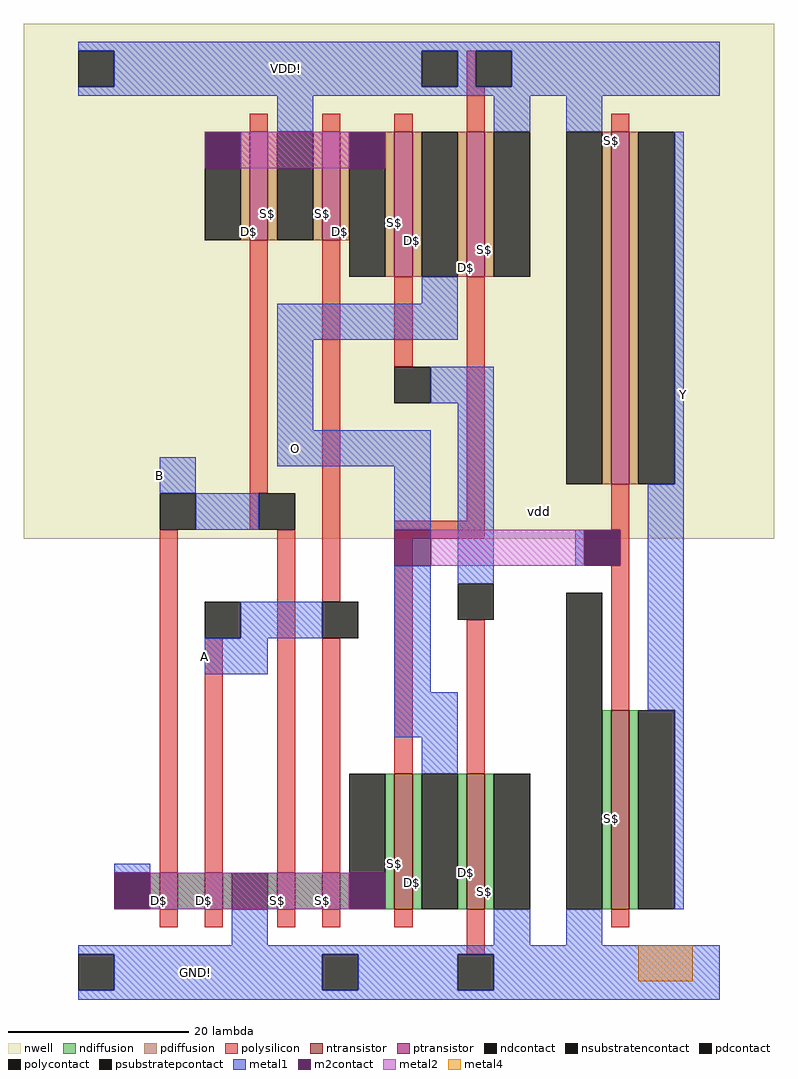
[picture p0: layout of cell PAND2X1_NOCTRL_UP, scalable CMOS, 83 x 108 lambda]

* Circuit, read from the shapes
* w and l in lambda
.subckt PAND2X1_NOCTRL_UP VDD! GND! B A Y
M1 n1 B n2 GND! nfet w=4 l=2
M2 GND! A n1 GND! nfet w=4 l=2
M3 n3 B GND! GND! nfet w=4 l=2
M4 n2 A n3 GND! nfet w=4 l=2
M5 O VDD! n2 GND! nfet w=15 l=2
M6 GND! GND! O GND! nfet w=15 l=2
M7 Y O GND! GND! nfet w=22 l=2
M8 VDD! B n4 VDD! pfet w=12 l=2
M9 n4 A VDD! VDD! pfet w=12 l=2
M10 O GND! n4 VDD! pfet w=16 l=2
M11 VDD! VDD! O VDD! pfet w=16 l=2
M12 Y O VDD! VDD! pfet w=39 l=2
.ends

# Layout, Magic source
magic
tech scmos
<< nwell >>
rect -8 48 75 105
<< ntransistor >>
rect 7 7 9 11
rect 12 7 14 11
rect 20 7 22 11
rect 25 7 27 11
rect 33 7 35 22
rect 41 7 43 22
rect 57 7 59 29
<< ptransistor >>
rect 17 81 19 93
rect 25 81 27 93
rect 33 77 35 93
rect 41 77 43 93
rect 57 54 59 93
<< ndiffusion >>
rect 6 7 7 11
rect 9 7 12 11
rect 14 7 15 11
rect 19 7 20 11
rect 22 7 25 11
rect 27 7 28 11
rect 32 7 33 22
rect 35 7 36 22
rect 40 7 41 22
rect 43 7 44 22
rect 56 7 57 29
rect 59 7 60 29
<< pdiffusion >>
rect 16 81 17 93
rect 19 81 20 93
rect 24 81 25 93
rect 27 81 28 93
rect 32 77 33 93
rect 35 77 36 93
rect 40 77 41 93
rect 43 77 44 93
rect 56 54 57 93
rect 59 54 60 93
<< ndcontact >>
rect 2 7 6 11
rect 15 7 19 11
rect 28 7 32 22
rect 36 7 40 22
rect 44 7 48 22
rect 52 7 56 42
rect 60 7 64 29
<< pdcontact >>
rect 12 81 16 93
rect 20 81 24 93
rect 28 77 32 93
rect 36 77 40 93
rect 44 77 48 93
rect 52 54 56 93
rect 60 54 64 93
<< psubstratepcontact >>
rect -2 -2 2 2
rect 25 -2 29 2
<< nsubstratencontact >>
rect -2 98 2 102
rect 36 98 40 102
<< polysilicon >>
rect 41 98 42 102
rect 17 93 19 95
rect 25 93 27 95
rect 33 93 35 95
rect 41 93 43 98
rect 57 93 59 95
rect 17 53 19 81
rect 17 49 18 53
rect 7 11 9 49
rect 12 11 14 37
rect 20 11 22 49
rect 25 41 27 81
rect 33 67 35 77
rect 41 50 43 77
rect 33 48 43 50
rect 57 49 59 54
rect 25 11 27 37
rect 33 22 35 48
rect 58 45 59 49
rect 41 22 43 39
rect 57 29 59 45
rect 7 5 9 7
rect 12 5 14 7
rect 20 5 22 7
rect 25 5 27 7
rect 33 5 35 7
rect 41 2 43 7
rect 57 5 59 7
<< polycontact >>
rect 42 98 46 102
rect 7 49 11 53
rect 18 49 22 53
rect 12 37 16 41
rect 33 63 37 67
rect 25 37 29 41
rect 54 45 58 49
rect 40 39 44 43
rect 40 -2 44 2
<< metal1 >>
rect -2 102 69 103
rect 2 98 36 102
rect 40 98 42 102
rect 46 98 69 102
rect -2 97 69 98
rect 20 93 24 97
rect 44 93 48 97
rect 52 93 56 97
rect 36 74 40 77
rect 20 70 40 74
rect 20 60 24 70
rect 37 63 44 67
rect 7 53 11 57
rect 20 56 37 60
rect 11 49 18 53
rect 33 49 37 56
rect 16 37 25 41
rect 12 33 19 37
rect 33 31 37 45
rect 40 43 44 63
rect 64 54 65 93
rect 53 45 54 49
rect 33 26 40 31
rect 36 22 40 26
rect 2 11 6 12
rect 15 3 19 7
rect 44 3 48 7
rect 61 29 65 54
rect 64 7 65 29
rect 52 3 56 7
rect -2 2 69 3
rect 2 -2 25 2
rect 29 -2 40 2
rect 44 -2 69 2
rect -2 -3 69 -2
<< m2contact >>
rect 12 89 16 93
rect 28 89 32 93
rect 33 45 37 49
rect 54 45 58 49
rect 2 7 6 11
rect 28 7 32 11
<< metal2 >>
rect 16 89 28 93
rect 37 45 54 49
rect 6 7 28 11
<< metal4 >>
rect 60 -1 66 3
<< labels >>
rlabel metal1 21 100 21 100 1 VDD!
port 1 n power bidirectional
rlabel metal1 7 53 7 57 1 B
port 3 n signal input
rlabel metal1 12 33 12 37 1 A
port 4 n signal input
rlabel space -8 -3 106 105 1 vdd
rlabel space -8 -3 106 105 1 gnd
rlabel metal1 22 58 22 58 1 O
rlabel space -8 -3 107 105 1 vdd
rlabel space -8 -3 107 105 1 gnd
rlabel metal1 11 0 11 0 1 GND!
port 2 n power bidirectional
rlabel ntransistor 57 17 57 17 1 S$
rlabel ntransistor 59 17 59 17 1 D$
rlabel ptransistor 57 92 57 92 1 S$
rlabel ptransistor 59 92 59 92 1 D$
rlabel metal1 65 62 65 66 1 Y
port 5 n signal output
rlabel ntransistor 41 11 41 11 1 D$
rlabel ntransistor 43 9 43 9 1 S$
rlabel ntransistor 33 12 33 12 1 S$
rlabel ntransistor 35 10 35 10 1 D$
rlabel ntransistor 25 8 25 8 1 S$
rlabel ntransistor 27 9 27 9 1 D$
rlabel ntransistor 20 8 20 8 1 S$
rlabel ntransistor 22 9 22 9 1 D$
rlabel ntransistor 12 8 12 8 1 D$
rlabel ntransistor 14 9 14 9 1 S$
rlabel ntransistor 7 8 7 8 1 D$
rlabel ntransistor 9 9 9 9 1 S$
rlabel ptransistor 19 84 19 84 1 S$
rlabel ptransistor 17 82 17 82 1 D$
rlabel ptransistor 25 84 25 84 1 S$
rlabel ptransistor 27 82 27 82 1 D$
rlabel ptransistor 33 83 33 83 1 S$
rlabel ptransistor 35 81 35 81 1 D$
rlabel ptransistor 43 80 43 80 1 S$
rlabel ptransistor 41 78 41 78 1 D$
<< end >>
